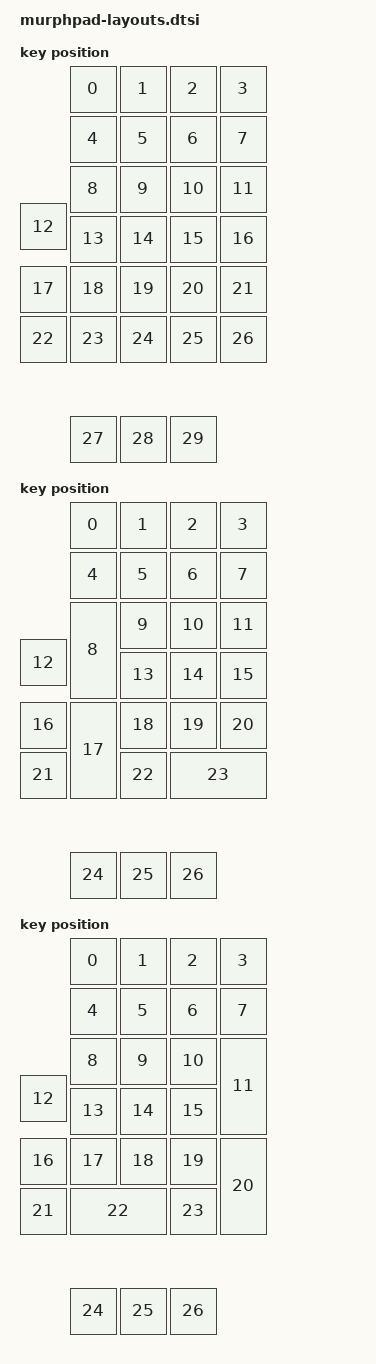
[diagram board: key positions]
/*
 * Copyright (c) 2024 The ZMK Contributors
 *
 * SPDX-License-Identifier: MIT
 */

#include <physical_layouts.dtsi>

/ {
    chosen {
        zmk,physical-layout = &all_1u_layout;
    };

    all_1u_layout: keymap_layout_0 {
        compatible = "zmk,physical-layout";
        display-name = "Default";

        transform = <&all_1u_transform>;

        keys  //                     w   h    x    y     rot   rx   ry
            = <&key_physical_attrs 100 100  100    0       0    0    0>
            , <&key_physical_attrs 100 100  200    0       0    0    0>
            , <&key_physical_attrs 100 100  300    0       0    0    0>
            , <&key_physical_attrs 100 100  400    0       0    0    0>
            , <&key_physical_attrs 100 100  100  100       0    0    0>
            , <&key_physical_attrs 100 100  200  100       0    0    0>
            , <&key_physical_attrs 100 100  300  100       0    0    0>
            , <&key_physical_attrs 100 100  400  100       0    0    0>
            , <&key_physical_attrs 100 100  100  200       0    0    0>
            , <&key_physical_attrs 100 100  200  200       0    0    0>
            , <&key_physical_attrs 100 100  300  200       0    0    0>
            , <&key_physical_attrs 100 100  400  200       0    0    0>
            , <&key_physical_attrs 100 100    0  275       0    0    0>
            , <&key_physical_attrs 100 100  100  300       0    0    0>
            , <&key_physical_attrs 100 100  200  300       0    0    0>
            , <&key_physical_attrs 100 100  300  300       0    0    0>
            , <&key_physical_attrs 100 100  400  300       0    0    0>
            , <&key_physical_attrs 100 100    0  400       0    0    0>
            , <&key_physical_attrs 100 100  100  400       0    0    0>
            , <&key_physical_attrs 100 100  200  400       0    0    0>
            , <&key_physical_attrs 100 100  300  400       0    0    0>
            , <&key_physical_attrs 100 100  400  400       0    0    0>
            , <&key_physical_attrs 100 100    0  500       0    0    0>
            , <&key_physical_attrs 100 100  100  500       0    0    0>
            , <&key_physical_attrs 100 100  200  500       0    0    0>
            , <&key_physical_attrs 100 100  300  500       0    0    0>
            , <&key_physical_attrs 100 100  400  500       0    0    0>
            , <&key_physical_attrs 100 100  100  700       0    0    0>
            , <&key_physical_attrs 100 100  200  700       0    0    0>
            , <&key_physical_attrs 100 100  300  700       0    0    0>
            ;

    };

    right_numpad_layout: keymap_layout_1 {
        compatible = "zmk,physical-layout";
        display-name = "Right Numpad";

        transform = <&right_numpad_transform>;

        keys  //                     w   h    x    y     rot   rx   ry
            = <&key_physical_attrs 100 100  100    0       0    0    0>
            , <&key_physical_attrs 100 100  200    0       0    0    0>
            , <&key_physical_attrs 100 100  300    0       0    0    0>
            , <&key_physical_attrs 100 100  400    0       0    0    0>
            , <&key_physical_attrs 100 100  100  100       0    0    0>
            , <&key_physical_attrs 100 100  200  100       0    0    0>
            , <&key_physical_attrs 100 100  300  100       0    0    0>
            , <&key_physical_attrs 100 100  400  100       0    0    0>
            , <&key_physical_attrs 100 200  100  200       0    0    0>
            , <&key_physical_attrs 100 100  200  200       0    0    0>
            , <&key_physical_attrs 100 100  300  200       0    0    0>
            , <&key_physical_attrs 100 100  400  200       0    0    0>
            , <&key_physical_attrs 100 100    0  275       0    0    0>
            , <&key_physical_attrs 100 100  200  300       0    0    0>
            , <&key_physical_attrs 100 100  300  300       0    0    0>
            , <&key_physical_attrs 100 100  400  300       0    0    0>
            , <&key_physical_attrs 100 100    0  400       0    0    0>
            , <&key_physical_attrs 100 200  100  400       0    0    0>
            , <&key_physical_attrs 100 100  200  400       0    0    0>
            , <&key_physical_attrs 100 100  300  400       0    0    0>
            , <&key_physical_attrs 100 100  400  400       0    0    0>
            , <&key_physical_attrs 100 100    0  500       0    0    0>
            , <&key_physical_attrs 100 100  200  500       0    0    0>
            , <&key_physical_attrs 200 100  300  500       0    0    0>
            , <&key_physical_attrs 100 100  100  700       0    0    0>
            , <&key_physical_attrs 100 100  200  700       0    0    0>
            , <&key_physical_attrs 100 100  300  700       0    0    0>
            ;

    };

    left_numpad_layout: keymap_layout_2 {
        compatible = "zmk,physical-layout";
        display-name = "Left Numpad";

        transform = <&left_numpad_transform>;

        keys  //                     w   h    x    y     rot   rx   ry
            = <&key_physical_attrs 100 100  100    0       0    0    0>
            , <&key_physical_attrs 100 100  200    0       0    0    0>
            , <&key_physical_attrs 100 100  300    0       0    0    0>
            , <&key_physical_attrs 100 100  400    0       0    0    0>
            , <&key_physical_attrs 100 100  100  100       0    0    0>
            , <&key_physical_attrs 100 100  200  100       0    0    0>
            , <&key_physical_attrs 100 100  300  100       0    0    0>
            , <&key_physical_attrs 100 100  400  100       0    0    0>
            , <&key_physical_attrs 100 100  100  200       0    0    0>
            , <&key_physical_attrs 100 100  200  200       0    0    0>
            , <&key_physical_attrs 100 100  300  200       0    0    0>
            , <&key_physical_attrs 100 200  400  200       0    0    0>
            , <&key_physical_attrs 100 100    0  275       0    0    0>
            , <&key_physical_attrs 100 100  100  300       0    0    0>
            , <&key_physical_attrs 100 100  200  300       0    0    0>
            , <&key_physical_attrs 100 100  300  300       0    0    0>
            , <&key_physical_attrs 100 100    0  400       0    0    0>
            , <&key_physical_attrs 100 100  100  400       0    0    0>
            , <&key_physical_attrs 100 100  200  400       0    0    0>
            , <&key_physical_attrs 100 100  300  400       0    0    0>
            , <&key_physical_attrs 100 200  400  400       0    0    0>
            , <&key_physical_attrs 100 100    0  500       0    0    0>
            , <&key_physical_attrs 200 100  100  500       0    0    0>
            , <&key_physical_attrs 100 100  300  500       0    0    0>
            , <&key_physical_attrs 100 100  100  700       0    0    0>
            , <&key_physical_attrs 100 100  200  700       0    0    0>
            , <&key_physical_attrs 100 100  300  700       0    0    0>
            ;
    };

    position_map {
        compatible = "zmk,physical-layout-position-map";
        all_1u_map {
            physical-layout = <&all_1u_layout>;
            positions
                = < 8 11 12 13 16 18 21 23 24 25 26 >;
        };

        right_numpad_map {
            physical-layout = <&right_numpad_layout>;
            positions
                = < 8 11 12 30 15 17 20 31 22 23 32 >;
        };

        left_numpad_map {
            physical-layout = <&left_numpad_layout>;
            positions
                = < 8 11 12 13 30 17 20 22 31 23 32 >;
        };
    };
};
